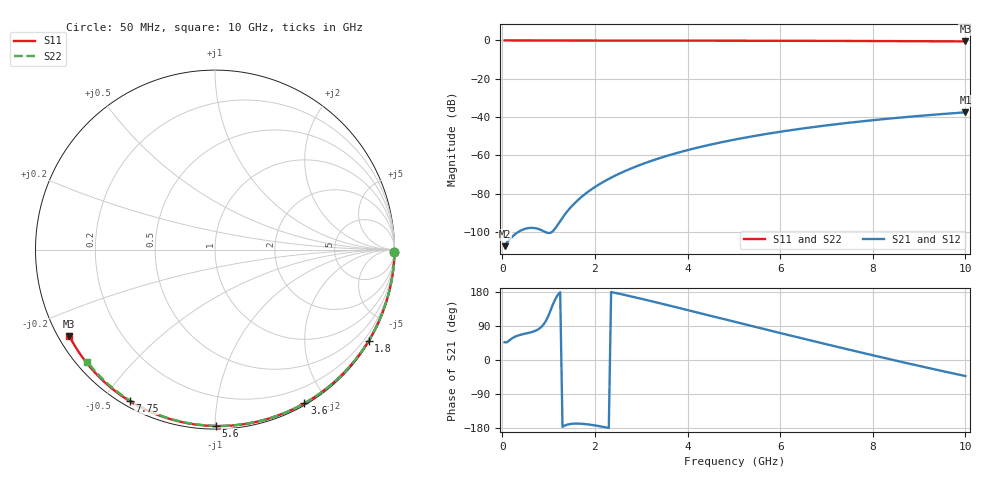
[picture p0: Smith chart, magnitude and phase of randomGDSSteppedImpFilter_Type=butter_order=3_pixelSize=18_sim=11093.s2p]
! freq	dB(S11)	phase(S11)	dB(S12)	phase(S12)
!  dB(S21)	phase(S21)	dB(S22)	phase(S22)
!S-par simulation data
#  GHz  S  DB  R 50
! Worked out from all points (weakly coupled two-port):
!   200 points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, 50 MHz to 10 GHz, reference 50 ohm
!   highest |S21| = -37.51 dB at 10 GHz (marker M1); lowest = -107.4 dB at 50 MHz (marker M2)
!   lowest |S11| = -0.5 dB at 10 GHz (marker M3), VSWR 34.39, Z = 1.56 - j13.7 ohm
!   |S11| at or under -10 dB: nowhere
!   |S22| runs from -0.5 to 0.0 dB; largest |S21 - S12| = 0
!   S11 on the Smith chart (normalised r, x): 50 MHz: open; 1.8 GHz: 0.03, -3.65; 3.6 GHz: 0.02, -1.74; 5.6 GHz: 0.02, -1.00; 7.75 GHz: 0.02, -0.58; 10 GHz: 0.03, -0.27
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0.05  -0.00 -0.9  -107.37 47.0  -107.37 47.0  -0.00 -0.8
0.45  -0.01 -7.8  -98.66 68.3  -98.66 68.3  -0.01 -7.2
0.9  -0.02 -15.5  -99.65 95.2  -99.65 95.2  -0.02 -14.4
1.3  -0.03 -22.3  -92.49 -176.3  -92.49 -176.3  -0.03 -20.7
1.75  -0.04 -29.8  -80.87 -168.6  -80.87 -168.6  -0.04 -27.7
1.8  -0.04 -30.7  -79.92 -169.2  -79.92 -169.2  -0.04 -28.4
1.95  -0.04 -33.2  -77.30 -171.6  -77.30 -171.6  -0.04 -30.8
2.1  -0.05 -35.7  -74.99 -174.7  -74.99 -174.7  -0.04 -33.1
2.3  -0.05 -39.0  -72.25 -179.3  -72.25 -179.3  -0.05 -36.1
2.5  -0.05 -42.2  -69.82 175.5  -69.82 175.5  -0.05 -39.2
2.9  -0.06 -48.7  -65.66 164.5  -65.66 164.5  -0.06 -45.2
3.4  -0.08 -56.7  -61.40 149.9  -61.40 149.9  -0.07 -52.6
3.6  -0.08 -59.8  -59.92 143.9  -59.92 143.9  -0.07 -55.6
4.3  -0.10 -70.6  -55.45 122.7  -55.45 122.7  -0.09 -65.6
5.05  -0.13 -81.8  -51.59 99.9  -51.59 99.9  -0.12 -76.1
5.6  -0.15 -89.7  -49.21 83.2  -49.21 83.2  -0.14 -83.6
6.15  -0.17 -97.5  -47.11 66.7  -47.11 66.7  -0.16 -90.9
6.7  -0.21 -105.2  -45.26 50.4  -45.26 50.4  -0.19 -98.0
7.75  -0.28 -119.4  -42.25 19.7  -42.25 19.7  -0.26 -111.3
8.35  -0.33 -127.4  -40.79 2.6  -40.79 2.6  -0.30 -118.7
9.2  -0.41 -138.7  -38.98 -21.0  -38.98 -21.0  -0.38 -129.1
10  -0.51 -149.3  -37.51 -42.4  -37.51 -42.4  -0.48 -138.8
